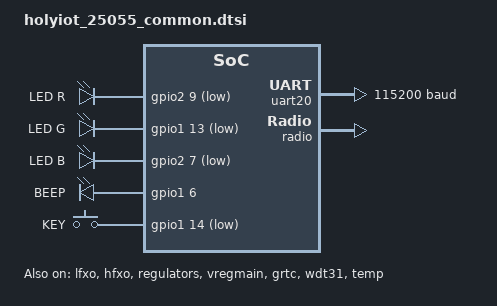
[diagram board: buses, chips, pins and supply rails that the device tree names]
/*
 * SPDX-License-Identifier: Apache-2.0
 *
 * Common board features for the Holyiot 25055 (round nRF54L05 beacon).
 *
 * Pin assignments verified against schematic 25055-B1-S-SCH.pdf (V1.0):
 *   LED_R   = P2.09  (LED1 pin 1, via R7 1K)
 *   LED_G   = P1.13  (LED1 pin 4, via R8 1K)  — note: AIN6
 *   LED_B   = P2.07  (LED1 pin 3, via R2 1K)
 *   BUTTON  = P1.14  (S1, with 100K pull-up R3 to VCC) — note: AIN7
 *   BEEP    = P1.06  (piezo buzzer driver) — note: AIN2; unique to 25055
 *
 * Accelerometer: SDI/SDO/SCK/CS/INT1/INT2 nets are routed on the PCB but
 * V1.0 of the 25055 does NOT populate the LIS2DH12 chip (verified by
 * board photo + product description). The signals are exposed for a
 * future-rev variant. Do not add an accelerometer child node here.
 */

#include "holyiot_25055-pinctrl.dtsi"

/ {
	leds {
		compatible = "gpio-leds";

		/*
		 * Multiple node labels per node:
		 *   `led0:` is the firmware contract (DT_NODELABEL(led0) in
		 *   src/zephyr_hardware.cpp:68 — required when CONFIG_GPIO=y).
		 *   `led_red:` is the upstream-Holyiot-style descriptive label.
		 */
		led0: led_red: led_r {
			gpios = <&gpio2 9 GPIO_ACTIVE_LOW>;
			label = "LED R";
		};

		led_green: led_g {
			gpios = <&gpio1 13 GPIO_ACTIVE_LOW>;
			label = "LED G";
		};

		led_blue: led_b {
			gpios = <&gpio2 7 GPIO_ACTIVE_LOW>;
			label = "LED B";
		};

		buzzer: buzzer {
			gpios = <&gpio1 6 GPIO_ACTIVE_HIGH>;
			label = "BEEP";
		};
	};

	buttons {
		compatible = "gpio-keys";

		button0: button_0 {
			gpios = <&gpio1 14 (GPIO_PULL_UP | GPIO_ACTIVE_LOW)>;
			label = "KEY";
			zephyr,code = <INPUT_KEY_0>;
		};
	};

	aliases {
		led0 = &led_red;
		led1 = &led_green;
		led2 = &led_blue;
		led0-red = &led_red;
		led0-green = &led_green;
		led0-blue = &led_blue;
		sw0 = &button0;
		watchdog0 = &wdt31;
		mcuboot-led0 = &led_red;
		mcuboot-button0 = &button0;
		/*
		 * No accel0 alias — 25055 V1.0 has no LIS2DH12 populated.
		 * Everytag firmware's movement-tracking status-byte telemetry
		 * will report "no movement" on this board.
		 */
	};
};

&uart20 {
	current-speed = <115200>;
	pinctrl-0 = <&uart20_default>;
	pinctrl-1 = <&uart20_sleep>;
	pinctrl-names = "default", "sleep";
	status = "okay";
};

&cpuapp_sram {
	status = "okay";
};

&lfxo {
	load-capacitors = "internal";
	load-capacitance-femtofarad = <16000>;
	status = "okay";
};

&hfxo {
	load-capacitors = "internal";
	load-capacitance-femtofarad = <15000>;
	status = "okay";
};

&regulators {
	status = "okay";
};

&vregmain {
	status = "okay";
	regulator-initial-mode = <NRF5X_REG_MODE_DCDC>;
};

&grtc {
	owned-channels = <0 1 2 3 4 5 6 7 8 9 10 11>;
	/* Channels 7-11 reserved for Zero Latency IRQs, 3-4 for FLPR */
	child-owned-channels = <3 4 7 8 9 10 11>;
	status = "okay";
};

&gpio0 {
	status = "okay";
};

&gpio1 {
	status = "okay";
};

&gpio2 {
	status = "okay";
};

&gpiote20 {
	status = "okay";
};

&gpiote30 {
	status = "okay";
};

&wdt31 {
	status = "okay";
};

&radio {
	status = "okay";
};

&temp {
	status = "okay";
};

&clock {
	status = "okay";
};
